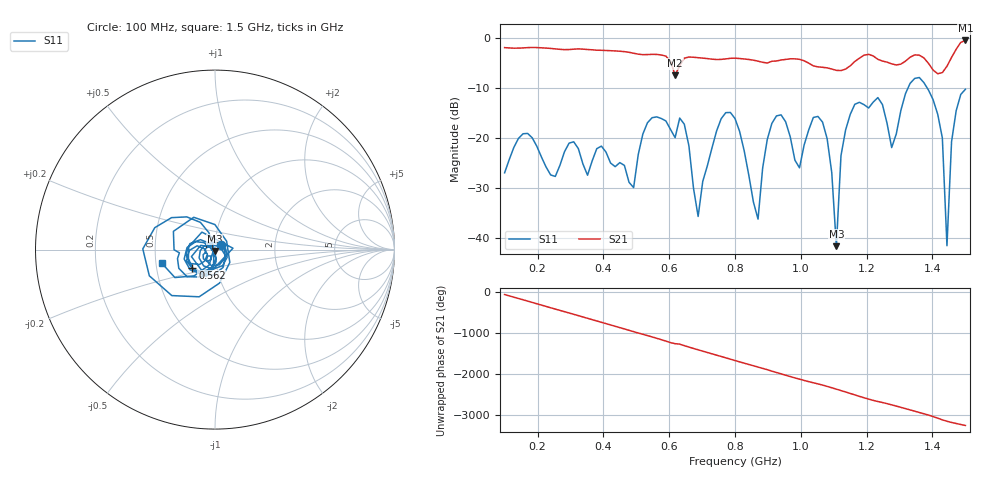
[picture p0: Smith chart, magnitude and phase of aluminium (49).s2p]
! NanoVNA-App
! Date: 2025-09-25 14:55:39
! Start: 100MHz Stop: 1,5GHz Points: 101
! S-Parameter data: F S11 S21 S12 S22
# Hz S RI R 50
!  Frequency  S11_Real  S11_Imag  S21_Real  S21_Imag  S12_Real  S12_Imag  S22_Real  S22_Imag
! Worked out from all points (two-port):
!   101 points, 100 MHz to 1.5 GHz, reference 50 ohm
!   highest |S21| = -0.49 dB at 1.5 GHz (marker M1); lowest = -7.4 dB at 618 MHz (marker M2)
!   |S21| within 3 dB of the highest: start of sweep to 581.7 MHz; 1.461 GHz to end of sweep (the widest 2 of 4)
!   lowest |S11| = -41.7 dB at 1.108 GHz (marker M3), VSWR 1.02, Z = 50 - j0.82 ohm
!   |S11| at or under -10 dB: start of sweep to 1.326 GHz; 1.384 GHz to end of sweep
!   S12 and S22 are empty: the file has one direction only
!   S11 on the Smith chart (normalised r, x): 100 MHz: 1.07, +0.06; 562 MHz: 0.76, -0.16; 1.5 GHz: 0.54, -0.09
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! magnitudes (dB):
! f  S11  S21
! 100 MHz  -27.0  -1.9
! 338 MHz  -25.2  -2.2
! 492 MHz  -30.0  -3.0
! 562 MHz  -15.8  -3.3
! 576 MHz  -16.1  -3.4
! 618 MHz  -20.0  -7.4
! 688 MHz  -35.8  -3.9
! 800 MHz  -16.1  -4.0
! 870 MHz  -36.3  -4.6
! 912 MHz  -17.1  -4.7
! 996 MHz  -26.0  -4.3
! 1.038 GHz  -15.9  -5.6
! 1.08 GHz  -20.2  -6.0
! 1.108 GHz  -41.7  -6.5
! 1.122 GHz  -23.6  -6.5
! 1.164 GHz  -13.3  -4.7
! 1.276 GHz  -21.9  -5.2
! 1.388 GHz  -10.4  -5.1
! 1.43 GHz  -20.0  -6.9
! 1.444 GHz  -41.6  -5.7
! 1.458 GHz  -20.7  -3.9
! 1.5 GHz  -10.3  -0.5
